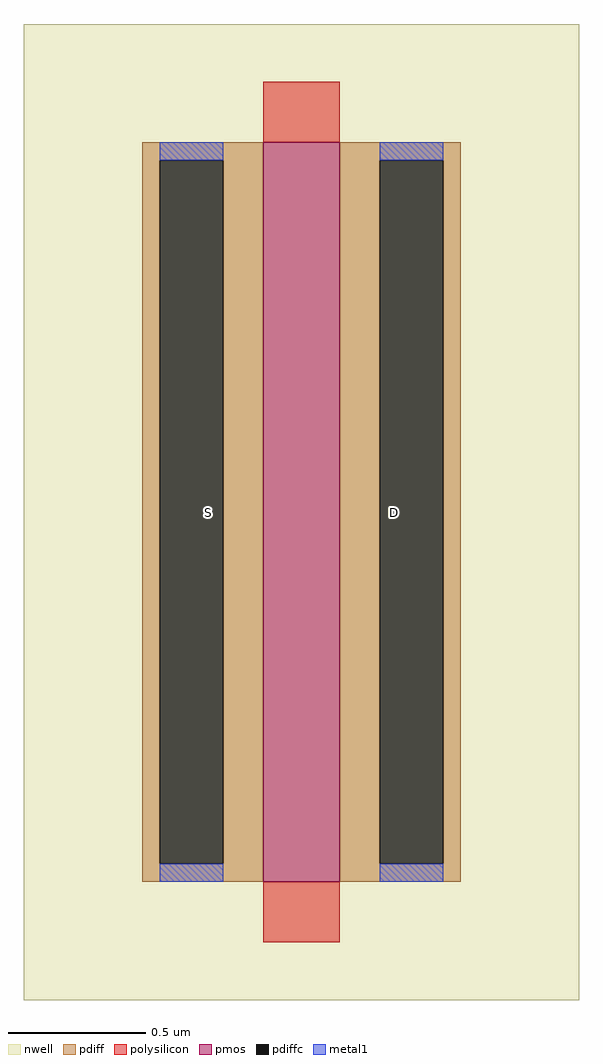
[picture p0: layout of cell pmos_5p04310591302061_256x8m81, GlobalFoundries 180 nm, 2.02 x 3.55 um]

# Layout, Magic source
magic
tech gf180mcuD
magscale 1 10
<< nwell >>
rect -174 -86 230 624
<< pmos >>
rect 0 0 56 538
<< pdiff >>
rect -88 525 0 538
rect -88 13 -75 525
rect -29 13 0 525
rect -88 0 0 13
rect 56 525 144 538
rect 56 13 85 525
rect 131 13 144 525
rect 56 0 144 13
<< pdiffc >>
rect -75 13 -29 525
rect 85 13 131 525
<< polysilicon >>
rect 0 538 56 582
rect 0 -44 56 0
<< metal1 >>
rect -75 525 -29 538
rect -75 0 -29 13
rect 85 525 131 538
rect 85 0 131 13
<< labels >>
flabel pdiffc -40 269 -40 269 0 FreeSans 186 0 0 0 S
flabel pdiffc 96 269 96 269 0 FreeSans 186 0 0 0 D
<< end >>
